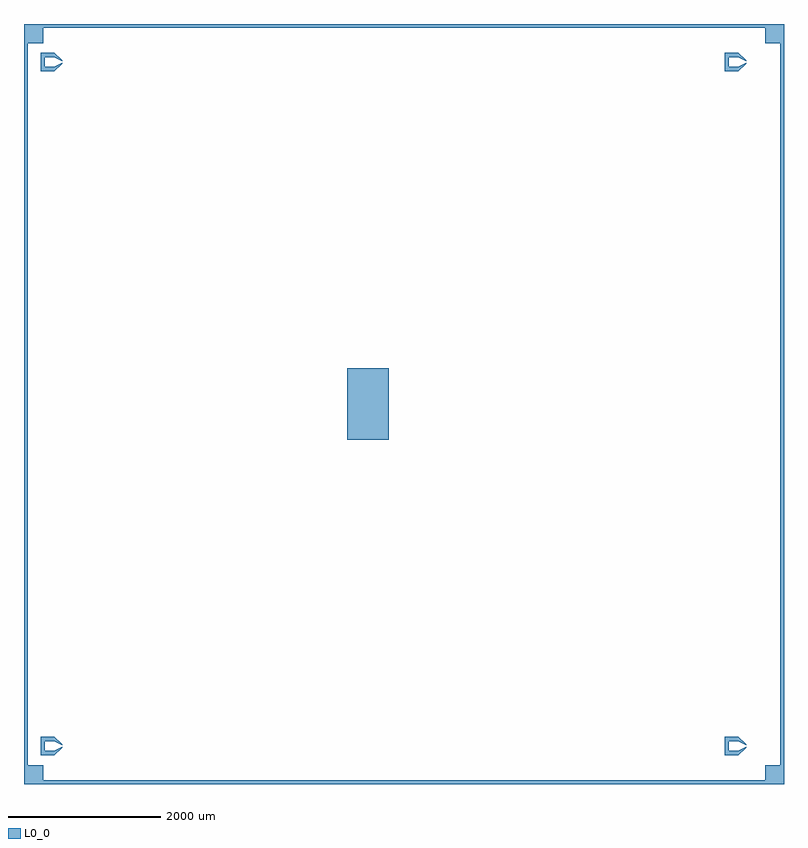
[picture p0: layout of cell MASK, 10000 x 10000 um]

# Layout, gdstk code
import gdstk
lib = gdstk.Library(unit=1e-6, precision=1e-09)
def R(c, l, rs):  # rectangles x0, y0, x1, y1
    for r in rs: c.add(gdstk.rectangle(r[:2], r[2:], *l))
def P(c, l, *ps):  # polygons
    for p in ps: c.add(gdstk.Polygon(p, *l))
L0_0 = (0, 0)

launch_3_ = lib.new_cell('Launch[3]')
R(launch_3_, L0_0, [(-281.5,-119,-225,119), (-225,-119,-100,-62.5), (-225,62.5,-100,119)])
P(launch_3_, L0_0, [(0,-20),(0,-10),(-100,-62.5),(-100,-119)],
  [(0,10),(0,20),(-100,119),(-100,62.5)])

floatingpads_9_ = lib.new_cell('FloatingPads[9]')
P(floatingpads_9_, L0_0, [(272.5,372.5),(-272.5,372.5),(-272.5,-25),(-57.5,-25),(-57.5,25),(-7.5,25),(-7.5,-25),(7.5,-25),(7.5,25),(57.5,25),(57.5,-25),(7.5,-25),(-7.5,-25),(-57.5,-25),(-272.5,-25),(-272.5,-372.5),(272.5,-372.5)])

floatingpads_10_ = lib.new_cell('FloatingPads[10]')
P(floatingpads_10_, L0_0, [(272.5,372.5),(-272.5,372.5),(-272.5,-25),(-57.5,-25),(-57.5,25),(-7.5,25),(-7.5,-25),(7.5,-25),(7.5,25),(57.5,25),(57.5,-25),(7.5,-25),(-7.5,-25),(-57.5,-25),(-272.5,-25),(-272.5,-372.5),(272.5,-372.5)])

mask = lib.new_cell('MASK')
P(mask, L0_0, [(-5000,5000),(-5000,-4750),(-4950,-4750),(-4950,4750),(-4750,4750),(-4750,4950),(4750,4950),(4750,4750),(4950,4750),(4950,-4750),(4750,-4750),(4750,-4950),(-4750,-4950),(-4750,-4750),(-4950,-4750),(-5000,-4750),(-5000,-5000),(5000,-5000),(5000,5000)])
mask.add(gdstk.Reference(launch_3_, (-4500,-4500)))
mask.add(gdstk.Reference(launch_3_, (4500,-4500)))
mask.add(gdstk.Reference(launch_3_, (-4500,4500)))
mask.add(gdstk.Reference(launch_3_, (4500,4500)))
mask.add(gdstk.Reference(floatingpads_9_, (-472.5,-100)))
mask.add(gdstk.Reference(floatingpads_10_, (-472.5,100)))

lib.write_gds('MASK.gds')
